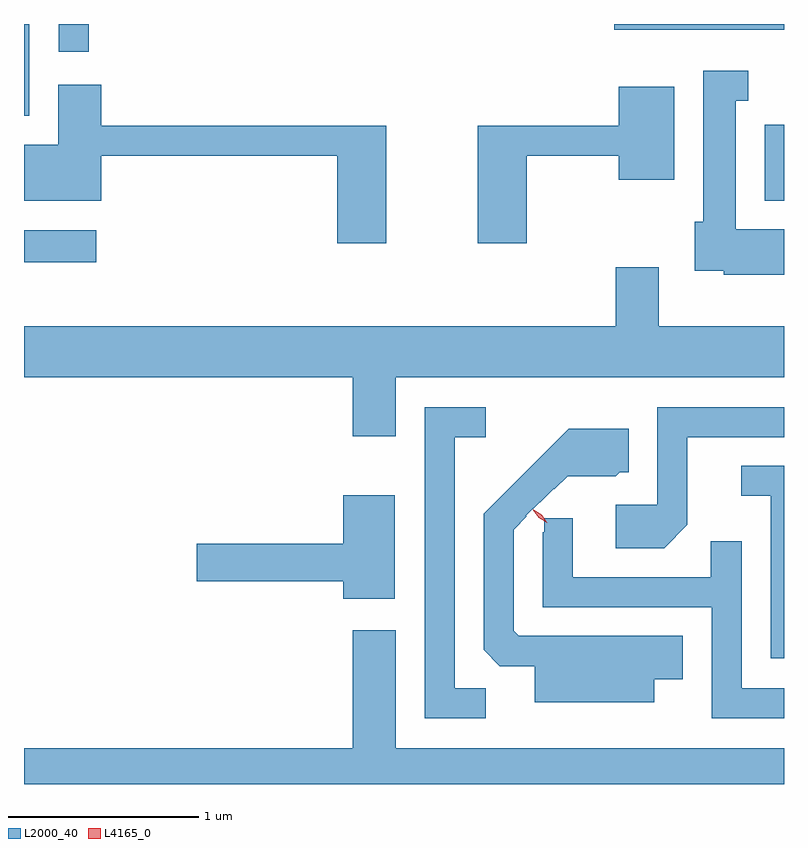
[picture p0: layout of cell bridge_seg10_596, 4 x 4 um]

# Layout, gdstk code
import gdstk
lib = gdstk.Library(unit=1e-6, precision=1e-09)
def R(c, l, rs):  # rectangles x0, y0, x1, y1
    for r in rs: c.add(gdstk.rectangle(r[:2], r[2:], *l))
def P(c, l, *ps):  # polygons
    for p in ps: c.add(gdstk.Polygon(p, *l))
L2000_40 = (2000, 40)
L4165_0 = (4165, 0)

bridge_seg10_596 = lib.new_cell('bridge_seg10_596')
R(bridge_seg10_596, L2000_40, [(636.157,2143.381,636.538,2143.549), (640.056,2143.706,640.157,2144.104), (636.157,2144.151,636.184,2144.635), (636.341,2144.488,636.499,2144.635), (639.263,2144.606,640.157,2144.635)])
P(bridge_seg10_596, L2000_40, [(640.157,2143.554),(639.904,2143.554),(639.904,2144.231),(639.968,2144.231),(639.968,2144.389),(639.731,2144.389),(639.731,2143.594),(639.686,2143.594),(639.686,2143.336),(639.841,2143.336),(639.841,2143.316),(640.157,2143.316)],
  [(638.064,2144.099),(636.564,2144.099),(636.564,2144.314),(636.336,2144.314),(636.336,2143.999),(636.157,2143.999),(636.157,2143.706),(636.564,2143.706),(636.564,2143.941),(637.806,2143.941),(637.806,2143.481),(638.064,2143.481)],
  [(638.804,2143.941),(639.286,2143.941),(639.286,2143.816),(639.579,2143.816),(639.579,2144.304),(639.286,2144.304),(639.286,2144.099),(638.546,2144.099),(638.546,2143.481),(638.804,2143.481)],
  [(638.114,2142.776),(640.157,2142.776),(640.157,2143.044),(639.499,2143.044),(639.499,2143.354),(639.271,2143.354),(639.271,2143.044),(636.157,2143.044),(636.157,2142.776),(637.886,2142.776),(637.886,2142.466),(638.114,2142.466)],
  [(639.649,2141.999),(639.649,2142.461),(640.157,2142.461),(640.157,2142.619),(639.491,2142.619),(639.491,2142.104),(639.271,2142.104),(639.271,2141.876),(639.527,2141.876)],
  [(638.588,2141.139),(638.424,2141.139),(638.424,2142.461),(638.588,2142.461),(638.588,2142.619),(638.266,2142.619),(638.266,2140.981),(638.588,2140.981)],
  [(639.474,2141.186),(639.624,2141.186),(639.624,2141.414),(638.762,2141.414),(638.734,2141.442),(638.734,2141.974),(638.803,2142.043),(638.799,2142.047),(638.871,2142.119),(638.873,2142.117),(638.945,2142.189),(638.948,2142.187),(639.018,2142.256),(639.272,2142.256),(639.292,2142.276),(639.339,2142.276),(639.339,2142.504),(639.024,2142.504),(638.576,2142.057),(638.576,2141.342),(638.662,2141.256),(638.846,2141.256),(638.846,2141.066),(639.474,2141.066)],
  [(640.157,2142.309),(639.933,2142.309),(639.933,2142.151),(640.086,2142.151),(640.086,2141.296),(640.157,2141.296)],
  [(638.109,2142.154),(637.836,2142.154),(637.836,2141.899),(637.066,2141.899),(637.066,2141.701),(637.836,2141.701),(637.836,2141.611),(638.109,2141.611)],
  [(640.157,2141.139),(639.934,2141.139),(639.934,2141.913),(639.771,2141.913),(639.771,2141.724),(639.044,2141.724),(639.044,2142.035),(638.896,2142.035),(638.896,2141.96),(638.886,2141.96),(638.886,2141.566),(639.776,2141.566),(639.776,2140.981),(640.157,2140.981)],
  [(640.157,2140.824),(638.114,2140.824),(638.114,2141.444),(637.886,2141.444),(637.886,2140.824),(636.157,2140.824),(636.157,2140.635),(640.157,2140.635)])
P(bridge_seg10_596, L4165_0, [(638.908,2142.011),(638.867,2142.038),(638.839,2142.079),(638.839,2142.079),(638.84,2142.079),(638.881,2142.052),(638.909,2142.012),(638.909,2142.011)],
  [(638.91,2142.009),(638.866,2142.036),(638.835,2142.078),(638.835,2142.078),(638.836,2142.078),(638.88,2142.051),(638.911,2142.01),(638.911,2142.009)])

lib.write_gds('bridge_seg10_596.gds')
